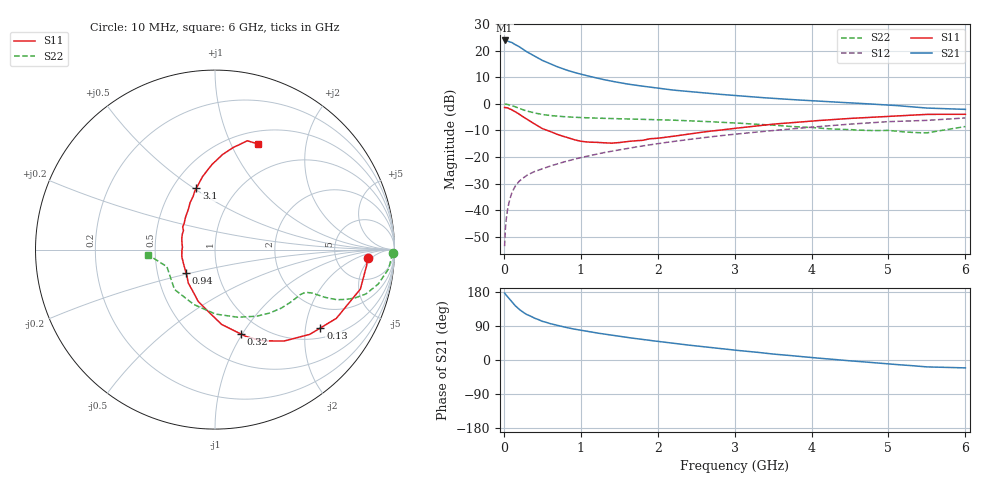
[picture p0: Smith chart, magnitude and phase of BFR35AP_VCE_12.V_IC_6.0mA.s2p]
! Infineon Technologies  Discrete & RF Semiconductors
! BFR35AP
! VCE =  12. V,  IC =  6.0 mA
! Common Emitter S-Parameters:  Nov 2015
# GHz  S  MA  R  50
!  f  S11  S21  S12  S22
! GHz  MAG  ANG  MAG  ANG  MAG  ANG  MAG  ANG
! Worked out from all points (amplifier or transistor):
!   210 points, 10 MHz to 6 GHz, reference 50 ohm
!   highest |S21| = 23.8 dB at 10 MHz (marker M1)
!   |S21| within 3 dB of that: start of sweep to 234.2 MHz
!   unconditionally stable (mu >= 1): 810.5 MHz to 2.846 GHz
!   at 185 MHz: K = 0.40, MSG = 25.7 dB, |S12| = -29.6 dB
!   at 1.52 GHz: K = 1.10, MAG = 10.7 dB, |S12| = -17.2 dB
!   at 6 GHz: K = 0.87, MSG = 1.6 dB, |S12| = -5.3 dB
!   S11 on the Smith chart (normalised r, x): 10 MHz: 11, -4; 130 MHz: 1.29, -2.42; 320 MHz: 0.80, -0.99; 940 MHz: 0.70, -0.19; 3.1 GHz: 0.65, +0.51; 6 GHz: 0.65, +1.28
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0.01  0.8522 -3.1  15.55 176.7  0.0021 79.7  0.9906 -1.2
0.02  0.8492 -6.1  15.13 173.9  0.0044 81.5  0.9843 -2.6
0.05  0.8393 -15.2  15.11 166.4  0.0106 82.3  0.9728 -6.4
0.1  0.7772 -29.5  14.36 154.2  0.0203 75.2  0.9287 -12.0
0.13  0.7318 -36.6  13.45 147.6  0.0252 70.7  0.8972 -14.5
0.15  0.7085 -41.8  12.95 142.8  0.0285 68.6  0.8773 -16.3
0.2  0.6381 -53.0  11.87 133.7  0.035 65.6  0.8229 -19.2
0.26  0.5582 -64.4  10.4 124.7  0.0411 61.9  0.763 -21.4
0.3  0.513 -70.5  9.492 119.9  0.0452 60.9  0.7317 -22.4
0.32  0.492 -72.9  9.143 118.3  0.0468 60.7  0.7199 -22.6
0.4  0.4187 -84.9  7.838 110.3  0.0533 59.9  0.6726 -23.4
0.5  0.3427 -97.2  6.562 102.1  0.0598 59.7  0.6291 -23.8
0.6  0.3031 -108.1  5.652 96.2  0.0673 60.3  0.6029 -24.0
0.7  0.2646 -117.3  4.947 91.0  0.0744 60.6  0.5849 -24.3
0.94  0.2069 -141.4  3.81 80.7  0.0927 61.5  0.5569 -25.5
1.02  0.1961 -150.8  3.552 77.8  0.0985 61.8  0.5503 -26.1
1.4  0.182 175.5  2.66 65.5  0.1281 61.8  0.5292 -29.9
2.02  0.2269 139.0  1.952 48.6  0.18 59.4  0.5006 -38.5
3.1  0.358 106.8  1.394 24.2  0.2768 50.7  0.4285 -60.3
4.1  0.4853 90.6  1.121 4.7  0.3733 40.3  0.3492 -93.5
5.1  0.5894 78.3  0.928 -11.9  0.4664 26.6  0.3058 -139.9
6  0.6351 67.7  0.786 -20.8  0.5418 15.9  0.3738 -175.6
